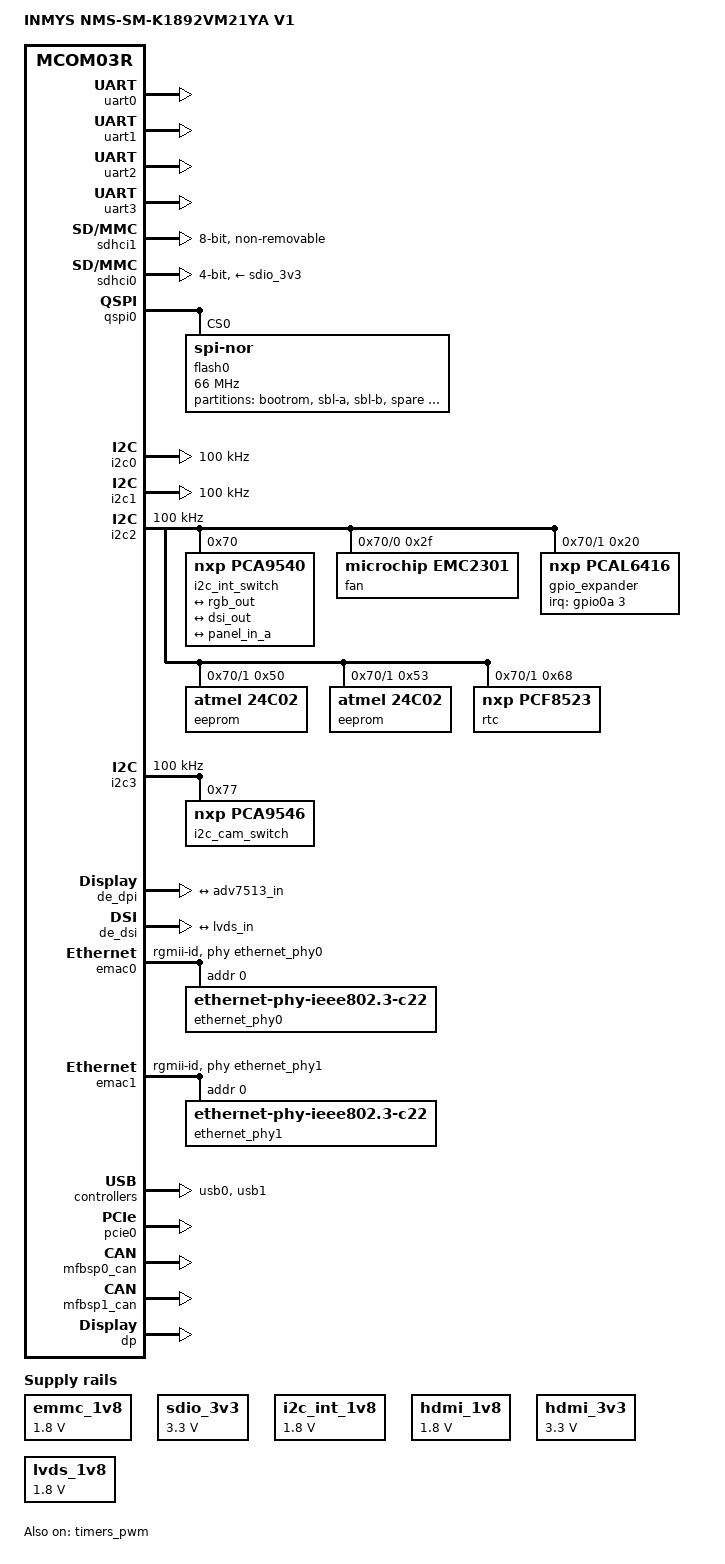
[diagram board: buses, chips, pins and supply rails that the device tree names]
// SPDX-License-Identifier: GPL-2.0+
/*
 * INMYS NMS-SM-K1892VM21YA V1
 * SMARC 2.1 module on ELVEES MCom-03R (К1892ВМ21Я)
 *
 * Module resources (see HARDWARE.md in the SDK root for the full map):
 *   SoC            К1892ВМ21Я (MCom-03R), BGA-1936
 *   LPDDR4         D27/D28 Rayson RS512M32LO4D1BDS-46IT, 2 x 2 GiB,
 *                  DDRMC0 (MEMA/MEMB) + DDRMC1 (MEMC/MEMD), 2133 MT/s
 *   eMMC           D20 Kioxia THGAMRG7T13BAIL 16 GiB  -> SDMMC1 (8 bit)
 *   SD/SDIO        SMARC SDIO (4 bit)                 -> SDMMC0
 *   QSPI boot      D21 W25Q128FWPIG 16 MiB            -> QSPI0
 *   RTC            D8  PCF8523TK                      -> I2C_INT_1V8
 *   GPIO expander  D34 PCAL6416AHF                    -> I2C_INT_1V8
 *   I2C mux        D30 PCA9540BGD (I2C_INT / I2C_INT_1V8)
 *                  D29 PCA9546ABS (CAM0 / CAM1 / LCD)
 *   Ethernet       D9A/D9B DAP8211RI (RGMII0/RGMII1, MDIO0/MDIO1)
 *   USB hub        D14 TUSB8041IRGCR  (USB0 -> 4 ports)
 *   USB-SATA       D16 TUSB9261IPVP   (USB1 -> SATA)
 *   HDMI           D19 ADV7513BSWZ    (parallel RGB from DPI)
 *   LVDS           D10 SN65DSI84ZQER  (DSI -> 2 x LVDS)
 *   Board ctrl     D41 STM32L052C8T6  (power/reset/bootsel sequencing)
 *
 * Copyright (C) 2026 INMYS
 */

#include <dt-bindings/gpio/gpio.h>
#include <dt-bindings/interrupt-controller/irq.h>
#include <dt-bindings/leds/common.h>

#include "mcom03r.dtsi"

/ {
	model = "INMYS NMS-SM-K1892VM21YA V1";
	compatible = "inmys,nms-sm-k1892vm21ya",
		     "inmys,nms-sm-k1892",
		     "elvees,mcom03r";

	aliases {
		i2c_pm = &i2c0;
		i2c_gp = &i2c1;
		i2c5 = &i2c_cam0;
		i2c6 = &i2c_cam1;
		i2c7 = &i2c_lcd;
		mmc0 = &sdhci0;
		mmc1 = &sdhci1;
	};

	/* eMMC is 1.8 V only on this module */
	emmc_1v8: regulator-emmc-1v8 {
		compatible = "regulator-fixed";
		regulator-name = "emmc-1v8";
		regulator-min-microvolt = <1800000>;
		regulator-max-microvolt = <1800000>;
		regulator-always-on;
	};

	/* SDIO level shifter (SDMMC0_18EN) is controlled by the SoC itself,
	 * the SMARC SDIO rail is 3.3 V by default.
	 */
	sdio_3v3: regulator-sdio-3v3 {
		compatible = "regulator-fixed";
		regulator-name = "sdio-3v3";
		regulator-min-microvolt = <3300000>;
		regulator-max-microvolt = <3300000>;
		regulator-always-on;
	};

	/* 1.8 V I2C_INT rail used by RTC, GPIO expander and video bridges */
	i2c_int_1v8: regulator-i2c-int-1v8 {
		compatible = "regulator-fixed";
		regulator-name = "i2c-int-1v8";
		regulator-min-microvolt = <1800000>;
		regulator-max-microvolt = <1800000>;
		regulator-always-on;
	};

	hdmi_1v8: regulator-hdmi-1v8 {
		compatible = "regulator-fixed";
		regulator-name = "hdmi-1v8";
		regulator-min-microvolt = <1800000>;
		regulator-max-microvolt = <1800000>;
		regulator-always-on;
	};

	hdmi_3v3: regulator-hdmi-3v3 {
		compatible = "regulator-fixed";
		regulator-name = "hdmi-3v3";
		regulator-min-microvolt = <3300000>;
		regulator-max-microvolt = <3300000>;
		regulator-always-on;
	};

	lvds_1v8: regulator-lvds-1v8 {
		compatible = "regulator-fixed";
		regulator-name = "lvds-1v8";
		regulator-min-microvolt = <1800000>;
		regulator-max-microvolt = <1800000>;
		regulator-always-on;
	};

	/*
	 * LVDS panel on the carrier (XP7 on the ELV-SMARC-CB).  It is declared
	 * here, disabled, only so that the SN65DSI84 output endpoint resolves
	 * for every carrier device tree.  The timing is a placeholder - replace
	 * it with the data of the panel actually plugged in, otherwise the
	 * picture will be wrong even though the pipeline probes cleanly.
	 */
	lvds_panel: panel-lvds {
		compatible = "panel-lvds";
		status = "disabled";
		width-mm = <217>;
		height-mm = <136>;
		data-mapping = "jeida-24";

		panel-timing {
			clock-frequency = <71000000>;
			hactive = <1280>;
			vactive = <800>;
			hfront-porch = <40>;
			hback-porch = <40>;
			hsync-len = <48>;
			vfront-porch = <3>;
			vback-porch = <10>;
			vsync-len = <6>;
		};

		ports {
			#address-cells = <1>;
			#size-cells = <0>;

			port@0 {
				reg = <0>;
				panel_in_a: endpoint {
					remote-endpoint = <&lvds_out_a>;
				};
			};
		};
	};
};

&uart0 {
	status = "okay";
};

&uart1 {
	status = "okay";
};

&uart2 {
	status = "okay";
};

&uart3 {
	status = "okay";
};

/*
 * SMARC serial ports.
 *
 * SER0 (P129/P130 + RTS/CTS P131/P132) is wired directly to UART3,
 * SER1_DBG (P134/P135) goes through the RS2299 crossbar D33 which selects
 * between UART0 (RISC0 console) and UART1, SER2 (P136/P137) is UART2 and
 * SER3 (P140/P141) is UART1.
 *
 * The crossbar is controlled by UART_0_1_CROSS# (GPIO1_PORTA_6).  It is
 * pulled high on the module, which is the "UART0 on SER1_DBG" position
 * used by the ELVEES SMARC convention, so the console is ttyS0 (UART0).
 */
ser0: &uart3 { };
ser1: &uart0 { };
ser2: &uart2 { };
ser3: &uart1 { };

/* ------------------------------------------------------------------ */
/* Storage                                                            */
/* ------------------------------------------------------------------ */

/* eMMC (D20, BGA-153, HS200/HS400) */
&sdhci1 {
	status = "okay";

	non-removable;
	bus-width = <8>;
	mmc-hs200-1_8v;
	vqmmc-supply = <&emmc_1v8>;
};

/* SMARC SDIO (4 bit). CD# and WP come from dedicated SoC pins. */
/* SMARC SDIO (4 bit, 3.3 V only) */
&sdhci0 {
	status = "okay";

	bus-width = <4>;
	vmmc-supply = <&sdio_3v3>;
	vqmmc-supply = <&sdio_3v3>;
	no-1-8-v;
	/*
	 * SDMMC0_CDN (ball BB1) -> SMARC SDIO_CD# (P35), pull-up R46 on the
	 * module, socket switch XS6.9 on the carrier.  The controller reports
	 * it in Present State bit 16 (CARD_INSERTED): measured 0 with an empty
	 * slot and 1 when CDTL is forced high, so the pin works and the driver
	 * can use it as-is.
	 *
	 * Do NOT add broken-cd here.  It sets MMC_CAP_NEEDS_POLL, and with an
	 * empty slot that re-probes every 10 s forever:
	 *   mmc0: Timeout waiting for hardware cmd interrupt.
	 * It was a workaround for the first (defective) board and is not
	 * needed on a working one.
	 */
};

/* Boot SPI flash (D21 W25Q128FWPIG, 16 MiB, 4 bit) */
&qspi0 {
	status = "okay";

	flash0: flash@0 {
		compatible = "jedec,spi-nor", "spi-flash";
		reg = <0x0>;
		spi-max-frequency = <66000000>;
		spi-tx-bus-width = <4>;
		spi-rx-bus-width = <4>;
		m25p,fast-read;

		/*
		 * Layout used by the ELVEES boot chain (see the
		 * package.toml inside the SBL *.tl-image):
		 *
		 *   0x000000  BootROM SBIMG (sbl-s1 + ddrinit + sbl-s2)
		 *   0x200000  SBL image slot A (bl31 + u-boot + dtb + sbl-s3)
		 *   0x600000  SBL image slot B (update slot)
		 *   0xFE0000  U-Boot environment (CONFIG_ENV_OFFSET)
		 */
		partitions {
			compatible = "fixed-partitions";
			#address-cells = <1>;
			#size-cells = <1>;

			partition@0 {
				label = "bootrom";
				reg = <0x000000 0x200000>;
			};

			partition@200000 {
				label = "sbl-a";
				reg = <0x200000 0x400000>;
			};

			partition@600000 {
				label = "sbl-b";
				reg = <0x600000 0x400000>;
			};

			partition@a00000 {
				label = "spare";
				reg = <0xA00000 0x5E0000>;
			};

			partition@fe0000 {
				label = "uboot-env";
				reg = <0xFE0000 0x010000>;
			};

			partition@ff0000 {
				label = "spare2";
				reg = <0xFF0000 0x010000>;
			};
		};
	};
};

/* ------------------------------------------------------------------ */
/* I2C                                                                */
/* ------------------------------------------------------------------ */

/* SMARC I2C_PM (SoC I2C0) - power management bus, 3.3 V */
&i2c0 {
	status = "okay";
	clock-frequency = <100000>;
};

/* SMARC I2C_GP (SoC I2C1) - general purpose bus, 3.3 V */
&i2c1 {
	status = "okay";
	clock-frequency = <100000>;
};

/* SoC I2C2 -> PCA9540B (D30): I2C_INT (3.3 V) and I2C_INT_1V8 */
&i2c2 {
	status = "okay";
	clock-frequency = <100000>;

	i2c_int_switch: i2c-switch@70 {
		compatible = "nxp,pca9540";
		reg = <0x70>;
		#address-cells = <1>;
		#size-cells = <0>;

		/*
		 * Channel 0 (I2C_INT, 3.3 V).  Verified from the U-Boot
		 * prompt with `i2c mw 70 0.0 04` + `i2c probe`:
		 *   0x2f EMC2301 fan controller (D35)
		 *   0x44 TUSB8041 USB hub (D14), SMBus only, no driver
		 */
		i2c_int: i2c@0 {
			#address-cells = <1>;
			#size-cells = <0>;
			reg = <0>;

			fan: fan@2f {
				compatible = "microchip,emc2301";
				reg = <0x2f>;
				#address-cells = <1>;
				#size-cells = <0>;
				#pwm-cells = <3>;
			};
		};

		/*
		 * Channel 1 (I2C_INT_1V8, 1.8 V).  Verified with
		 * `i2c mw 70 0.0 05` + `i2c probe`:
		 *   0x20 PCAL6416A GPIO expander (D34)
		 *   0x2d SN65DSI84 DSI-LVDS bridge (D10)
		 *   0x38/0x39/0x3c/0x3e/0x3f ADV7513 HDMI (D19)
		 *   0x50/0x53 24AA025E48 EEPROMs (D11/D12), both blank
		 *   0x68 PCF8523 RTC (D8)
		 *
		 * The ADV7513 and the SN65DSI84 need full OF-graph video
		 * bindings, so they are not described yet.
		 */
		i2c_int_1v8_bus: i2c@1 {
			#address-cells = <1>;
			#size-cells = <0>;
			reg = <1>;

			gpio_expander: gpio@20 {
				compatible = "nxp,pcal6416";
				reg = <0x20>;
				gpio-controller;
				#gpio-cells = <2>;
				interrupt-controller;
				#interrupt-cells = <2>;
				interrupt-parent = <&gpio0a>;
				interrupts = <3 IRQ_TYPE_LEVEL_LOW>;
			};

			/*
			 * Factory MAC addresses.  24AA025E48 EUI-48 EEPROMs
			 * (D11/D12, SOT-23-6), 2 Kbit, 16-byte pages, 1-byte
			 * register address.  The MAC sits in the last six
			 * bytes of the array (0xfa..0xff) and the rest of
			 * the array is blank.  U-Boot passes the addresses
			 * to the kernel through /aliases, so these cells are
			 * only a fallback for the case where the U-Boot
			 * environment has been wiped.
			 */
			eeprom@50 {
				compatible = "atmel,24c02";
				reg = <0x50>;
				pagesize = <16>;
				#address-cells = <1>;
				#size-cells = <1>;

				mac0: mac-address@fa {
					reg = <0xfa 0x6>;
				};
			};

			eeprom@53 {
				compatible = "atmel,24c02";
				reg = <0x53>;
				pagesize = <16>;
				#address-cells = <1>;
				#size-cells = <1>;

				mac1: mac-address@fa {
					reg = <0xfa 0x6>;
				};
			};

			rtc: rtc@68 {
				compatible = "nxp,pcf8523";
				reg = <0x68>;
			};
		};
	};
};

/* SoC I2C3 -> PCA9546A (D29): CAM0 / CAM1 / LCD */
&i2c3 {
	status = "okay";
	clock-frequency = <100000>;

	i2c_cam_switch: i2c-switch@77 {
		compatible = "nxp,pca9546";
		reg = <0x77>;
		#address-cells = <1>;
		#size-cells = <0>;

		i2c_cam0: i2c@0 {
			#address-cells = <1>;
			#size-cells = <0>;
			reg = <0>;
		};

		i2c_cam1: i2c@1 {
			#address-cells = <1>;
			#size-cells = <0>;
			reg = <1>;
		};

		i2c_lcd: i2c@2 {
			#address-cells = <1>;
			#size-cells = <0>;
			reg = <2>;
		};
	};
};

/* Devices on the 1.8 V branch of the PCA9540B */
&i2c_int_1v8_bus {
	#address-cells = <1>;
	#size-cells = <0>;

	/* RTC D8 */
	rtc: rtc@68 {
		compatible = "nxp,pcf8523";
		reg = <0x68>;
		/* RTC_INT# is routed to the board controller (D41), not to
		 * the SoC, so it cannot be used as a wakeup source here.
		 */
	};

	/* GPIO expander D34 */
	gpio_expander: gpio@20 {
		compatible = "nxp,pcal6416";
		reg = <0x20>;
		gpio-controller;
		#gpio-cells = <2>;
		interrupt-controller;
		#interrupt-cells = <2>;
		interrupt-parent = <&gpio0a>;
		interrupts = <3 IRQ_TYPE_EDGE_FALLING>;

		gpio-line-names =
			"LCD0_BKLT_EN", "LCD0_VDD_EN",
			"LCD1_BKLT_EN", "LCD1_VDD_EN",
			"QSPI_SPI#", "BC_UART_SEL",
			"PCIE_SEL", "HDMI_INT#",
			"HDMI_PD", "EXP_P1_1",
			"ENABLE_LVDS", "USB1_ID0_GPIO",
			"BC_BOOT", "BC_RST",
			"CAM_SEL0", "CAM_SEL1";
	};

	/*
	 * HDMI transmitter D19 (parallel RGB in, HDMI out).
	 *
	 * Supplies, traced from the module netlist through the ferrite beads:
	 *   AVDD_HDMI   D19.15/19/25 <- L30 <- +1V8_MEDIA
	 *   HDMI_DVDD   D19.1/11/31/51 <- L29 <- +1V8_MEDIA
	 *   HDMI_PVDD   D19.12/13 <- L28 <- +1V8_MEDIA
	 *   HDMI_DVDD3V D19.29 <- L27 <- +3V3_CORE
	 * The driver gets all five regulators in bulk, so every one of them has
	 * to be named even though the rails themselves are always on.
	 */
	adv7513: hdmi@39 {
		compatible = "adi,adv7513";
		reg = <0x39>, <0x3f>;
		reg-names = "main", "edid";
		interrupt-parent = <&gpio_expander>;
		interrupts = <7 IRQ_TYPE_EDGE_FALLING>;
		/*
		 * The binding says these three must be omitted in "rgb 1x" mode,
		 * but adv7511_parse_dt() reads them unconditionally and returns
		 * -EINVAL when they are missing (adi,clock-delay is read into an
		 * uninitialised field, so leaving it out gives a random failure).
		 */
		adi,input-depth = <8>;
		adi,input-colorspace = "rgb";
		adi,input-clock = "1x";
		adi,clock-delay = <0>;
		powerdown-gpios = <&gpio_expander 8 GPIO_ACTIVE_LOW>;
		avdd-supply = <&hdmi_1v8>;
		dvdd-supply = <&hdmi_1v8>;
		pvdd-supply = <&hdmi_1v8>;
		dvdd-3v-supply = <&hdmi_3v3>;
		bgvdd-supply = <&hdmi_1v8>;
		#sound-dai-cells = <0>;
		status = "disabled"; /* enable in carrier DTS when HDMI is used */

		ports {
			#address-cells = <1>;
			#size-cells = <0>;

			port@0 {
				reg = <0>;
				adv7513_in: endpoint {
					remote-endpoint = <&rgb_out>;
				};
			};
		};
	};

	/*
	 * DSI -> dual LVDS bridge D10 (SN65DSI84).
	 *
	 * The I2C address is 0x2d, not 0x2c: R82 pulls DSI_LVDS_ADDR (D10.A1)
	 * up to +1V8_MEDIA.  A live `i2c probe` on I2C_INT_1V8 confirms 0x2d.
	 * ENABLE_LVDS is PCAL6416A P1_2, i.e. line 10 of the expander.
	 */
	lvds_bridge: lvds-bridge@2d {
		compatible = "ti,sn65dsi84";
		reg = <0x2d>;
		enable-gpios = <&gpio_expander 10 GPIO_ACTIVE_HIGH>;
		vcc-supply = <&lvds_1v8>;
		status = "disabled"; /* enable in carrier DTS when LVDS is used */

		ports {
			#address-cells = <1>;
			#size-cells = <0>;

			/* MIPI DSI channel A: all four lanes are wired */
			port@0 {
				reg = <0>;
				lvds_in: endpoint {
					remote-endpoint = <&dsi_out>;
					data-lanes = <1 2 3 4>;
				};
			};

			/* LVDS channel A -> panel */
			port@2 {
				reg = <2>;
				lvds_out_a: endpoint {
					remote-endpoint = <&panel_in_a>;
				};
			};
		};
	};
};

/*
 * Display pipeline glue.  Mali-DP550 drives either the parallel RGB encoder
 * (-> ADV7513 HDMI) or the MIPI DSI encoder (-> SN65DSI84 LVDS); both encoders
 * need an output endpoint or their probe fails with -ENODEV and no DRM device
 * is registered at all.
 */
&de_dpi {
	ports {
		port@1 {
			reg = <1>;

			rgb_out: endpoint {
				remote-endpoint = <&adv7513_in>;
			};
		};
	};
};

&de_dsi {
	ports {
		port@1 {
			reg = <1>;

			dsi_out: endpoint {
				remote-endpoint = <&lvds_in>;
			};
		};
	};
};

/* ------------------------------------------------------------------ */
/* Ethernet                                                           */
/* ------------------------------------------------------------------ */

/*
 * The PHYs (D9A/D9B, DAP8211) have their VDDIO on +1V8_AO and the RGMII
 * nets are pulled to the same rail, so the SoC's EMAC pads must drive and
 * sample at 1.8 V.  Without this the MAC transmits fine (the PHY still
 * sees 3.3 V as high) but receives nothing at all: every hardware RX
 * counter stays zero, because the PHY's 1.8 V levels never reach the
 * 3.3 V input threshold.  `emac_v18` sets EMAC_V18 (URB 0x140, bit 0).
 */
&hsperiph_pinctrl {
	pinctrl-0 = <&hsperiph_misc_default &emac_v18>;
};

/* D9A: RGMII0, MDIO0, PHY address 0 */
&emac0 {
	status = "okay";
	phy-mode = "rgmii-id";
	phy-handle = <&ethernet_phy0>;
	nvmem-cells = <&mac0>;
	nvmem-cell-names = "mac-address";

	ethernet_phy0: ethernet-phy@0 {
		compatible = "ethernet-phy-ieee802.3-c22";
		reg = <0x0>;
	};
};

/* D9B: RGMII1, MDIO1, PHY address 0 (separate MDIO bus) */
&emac1 {
	status = "okay";
	phy-mode = "rgmii-id";
	phy-handle = <&ethernet_phy1>;
	nvmem-cells = <&mac1>;
	nvmem-cell-names = "mac-address";

	ethernet_phy1: ethernet-phy@0 {
		compatible = "ethernet-phy-ieee802.3-c22";
		reg = <0x0>;
	};
};

/* ------------------------------------------------------------------ */
/* USB                                                                */
/* ------------------------------------------------------------------ */

/* USB0 -> TUSB8041 hub (D14) -> 4 downstream ports on the carrier */
&usb0 {
	status = "okay";
};

/* USB1 -> TUSB9261 USB-SATA bridge (D16) */
&usb1 {
	status = "okay";
};

/* ------------------------------------------------------------------ */
/* PCIe                                                               */
/* ------------------------------------------------------------------ */

/* PCIe0 is routed to the SMARC PCIe pins, PCIe1 to the second slot;
 * the actual root complex used is selected by PCIE_SEL (expander P0_6).
 */
&pcie0 {
	status = "okay";
};

/*
 * pcie1 hangs the kernel during bus enumeration on every carrier we have
 * tried: the last line printed is "pci 0001:00:00.0: PME# supported from
 * D0 D1 D3hot" and nothing follows.  pcie0 enumerates fine and only says
 * "Phy link never came up".  Keep pcie1 off until the root cause is found.
 */
&pcie1 {
	status = "disabled";
};

/* ------------------------------------------------------------------ */
/* CAN (MFBSP)                                                        */
/* ------------------------------------------------------------------ */

&mfbsp0_can {
	status = "okay";
};

&mfbsp1_can {
	status = "okay";
};

/* ------------------------------------------------------------------ */
/* PWM (LCD backlight)                                                */
/* ------------------------------------------------------------------ */

&timers_pwm {
	status = "okay";
	pinctrl-names = "default";
	pinctrl-0 = <&timer1_toggle_mux>;
};

/* ------------------------------------------------------------------ */
/* GPIO line names (SMARC naming)                                     */
/* ------------------------------------------------------------------ */

/*
 * The names below are taken from the module netlist, ball by ball, not
 * from the SMARC pin order -- the two differ for most of the SoC GPIOs.
 * They are what "gpiofind" resolves, so /usr/sbin/nms-gpio.sh can drive
 * the board multiplexers without knowing any chip or line number.
 */

&gpio0a {
	gpio-line-names = "FORCE_RECOV#", "", "SER0_CTS", "I2C_GPIO_INT#",
		"GPIO11", "GPIO12", "", "SER0_RTS";
};

&gpio0b {
	gpio-line-names = "SER0_RX", "SER0_TX", "UART3_DE", "UART3_RE",
		"WDT_TIME_OUT#", "UART1_DBG_RX", "UART1_DBG_TX", "SER2_RX";
};

&gpio0c {
	gpio-line-names = "SPI0_SCK", "SPI0_MOSI", "SPI0_MISO", "SPI0_SS_IN",
		"SPI0_CS0", "SPI0_CS1", "", "";
};

&gpio0d {
	gpio-line-names = "SER2_TX", "GPIO10", "GPIO13", "I2C_PM_CK",
		"I2C_PM_DAT", "I2C0_SMBALERT", "PCIE1_PERST#", "PCIE0_PERST#";
};

&gpio1a {
	gpio-line-names = "I2C_GP_CK", "I2C_GP_DAT", "I2C2_SCL", "I2C2_SDA",
		"I2C3_SCL", "I2C3_SDA", "UART_0_1_CROSS#", "FAN_TACHIN";
};

&gpio1b {
	gpio-line-names = "HDMI_I2S_SCLK", "HDMI_I2S_LRCLK", "HDMI_I2S_SDOUT",
		"", "GPIO1_CAM1_PWR#", "GPIO7", "UART0_DBG_TX", "UART0_DBG_RX";
};

&gpio1c {
	gpio-line-names = "SPI1_SCK", "SPI1_MOSI", "SPI1_MISO", "SPI1_CS0",
		"SPI1_CS1", "SPI1_CS2", "GPIO0_CAM0_PWR#", "SSI1_SS_IN";
};

&gpio1d {
	gpio-line-names = "GPIO2_CAM0_RST#", "GPIO3_CAM1_RST#", "FAN_PWMOUT",
		"LCD0_BKLT_PWM", "LCD1_BKLT_PWM", "GPIO8", "GPIO4_HDA_RST#",
		"GPIO9";
};

/* ------------------------------------------------------------------ */
/* Display pipeline                                                   */
/* ------------------------------------------------------------------ */

&de_dpi {
	status = "okay";

	ports {
		port@1 {
			reg = <1>;

			rgb_out: endpoint {
				remote-endpoint = <&adv7513_in>;
			};
		};
	};
};

&de_dsi {
	status = "okay";

	ports {
		port@1 {
			reg = <1>;

			dsi_out: endpoint {
				remote-endpoint = <&lvds_in>;
			};
		};
	};
};

&dp {
	status = "okay";
};
